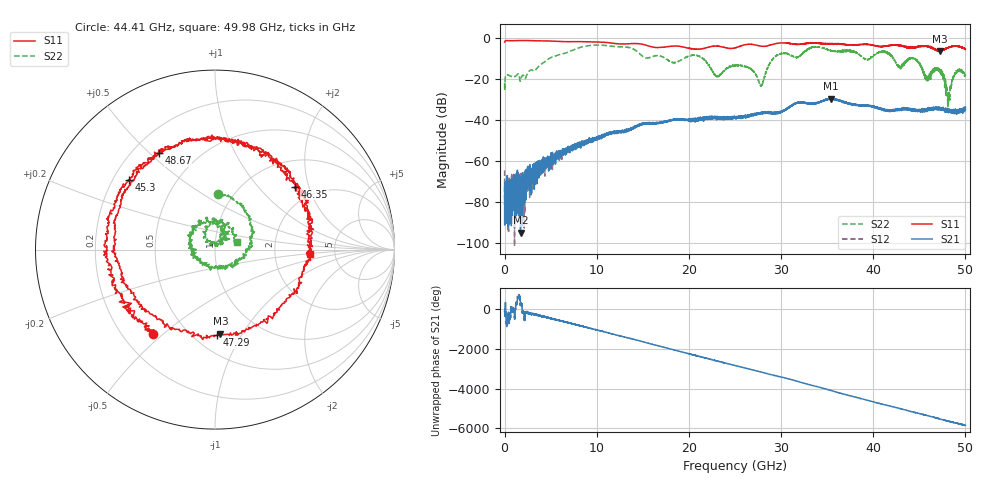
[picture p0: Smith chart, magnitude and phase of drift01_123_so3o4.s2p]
!Created with skrf (http://scikit-rf.org).
# Hz S RI R 50.0
!freq ReS11 ImS11 ReS21 ImS21 ReS12 ImS12 ReS22 ImS22
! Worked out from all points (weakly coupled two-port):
!   10001 points, 300 kHz to 50 GHz, reference 50 ohm
!   highest |S21| = -29.57 dB at 35.43 GHz (marker M1); lowest = -94.7 dB at 1.725 GHz (marker M2)
!   lowest |S11| = -6.6 dB at 47.28 GHz (marker M3), VSWR 2.77, Z = 33.6 - j40.4 ohm
!   |S11| at or under -10 dB: nowhere
!   |S22| runs from -34.1 to -3.6 dB; largest |S21 - S12| = 0.0039
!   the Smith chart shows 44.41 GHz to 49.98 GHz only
!   S11 on the Smith chart (normalised r, x): 44.41 GHz: 0.32, -0.47; 45.3 GHz: 0.26, +0.33; 46.35 GHz: 1.58, +1.64; 47.29 GHz: 0.64, -0.79; 48.67 GHz: 0.30, +0.54; 49.98 GHz: 3.23, -0.24
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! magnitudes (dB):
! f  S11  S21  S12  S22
! 300 kHz  -2.1  -71.2  -64.5  -21.9
! 255.3 MHz  -1.4  -79.1  -74.2  -18.0
! 1.725 GHz  -1.4  -94.7  -85.8  -20.8
! 8.335 GHz  -2.0  -50.8  -51.7  -4.5
! 16.67 GHz  -4.8  -41.6  -41.5  -8.7
! 20.97 GHz  -5.6  -40.5  -39.7  -8.8
! 23.1 GHz  -4.1  -39.5  -38.6  -18.8
! 25 GHz  -5.0  -38.5  -39.0  -13.7
! 27.84 GHz  -4.1  -36.7  -36.5  -23.2
! 29.47 GHz  -2.8  -36.5  -36.5  -8.8
! 33.34 GHz  -2.6  -32.1  -31.9  -4.7
! 35.43 GHz  -3.0  -29.6  -29.7  -6.3
! 41.67 GHz  -3.8  -35.6  -35.3  -7.9
! 44.41 GHz  -4.7  -35.2  -34.8  -10.2
! 45.3 GHz  -4.2  -35.5  -35.5  -15.3
! 46.35 GHz  -4.9  -34.6  -34.7  -16.8
! 47.28 GHz  -6.6  -35.2  -34.5  -16.4
! 47.29 GHz  -6.4  -34.6  -35.0  -16.3
! 48.12 GHz  -4.9  -35.3  -35.4  -32.7
! 48.67 GHz  -4.1  -36.2  -35.7  -19.5
! 49.98 GHz  -5.5  -34.2  -35.0  -17.9
! 50 GHz  -5.5  -33.7  -34.6  -18.3
